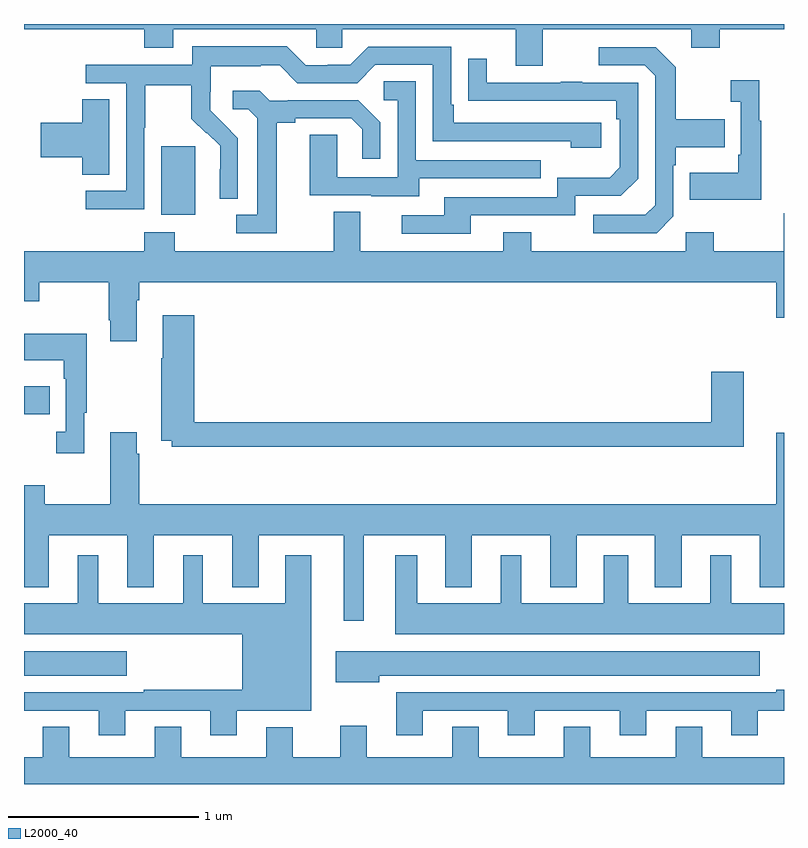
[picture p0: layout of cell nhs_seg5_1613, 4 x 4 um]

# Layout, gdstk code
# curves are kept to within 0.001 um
import gdstk
lib = gdstk.Library(unit=1e-6, precision=1e-09)
def R(c, l, rs):  # rectangles x0, y0, x1, y1
    for r in rs: c.add(gdstk.rectangle(r[:2], r[2:], *l))
def P(c, l, *ps):  # polygons
    for p in ps: c.add(gdstk.Polygon(p, *l))
L2000_40 = (2000, 40)

nhs_seg5_1613 = lib.new_cell('nhs_seg5_1613')
R(nhs_seg5_1613, L2000_40, [(209,841.37,209.542,841.498), (209,842.746,209.135,842.893), (209.723,843.794,209.902,844.155)])
P(nhs_seg5_1613, L2000_40, [(211.729,844.772),(212.513,844.772),(212.513,844.673),(212.661,844.673),(212.661,844.772),(213,844.772),(213,844.799),(209,844.799),(209,844.772),(209.633,844.772),(209.633,844.673),(209.785,844.673),(209.785,844.772),(210.537,844.772),(210.537,844.674),(210.675,844.674),(210.675,844.772),(211.589,844.772),(211.589,844.578),(211.729,844.578)],
  [(209.634,844.252),(209.637,844.252),(209.637,844.476),(209.881,844.476),(209.881,844.301),(209.958,844.224),(209.961,844.227),(210.032,844.157),(210.032,844.034),(210.03,844.034),(210.03,843.88),(210.126,843.88),(210.126,844.198),(209.98,844.346),(209.98,844.443),(209.982,844.443),(209.982,844.577),(210.245,844.577),(210.245,844.581),(210.345,844.581),(210.438,844.488),(210.753,844.488),(210.849,844.584),(211.152,844.584),(211.152,844.182),(211.877,844.182),(211.877,844.148),(212.038,844.148),(212.038,844.278),(211.261,844.278),(211.261,844.375),(211.248,844.375),(211.248,844.68),(210.813,844.68),(210.717,844.584),(210.599,844.584),(210.599,844.581),(210.483,844.581),(210.383,844.681),(209.886,844.681),(209.886,844.584),(209.325,844.584),(209.325,844.488),(209.538,844.488),(209.538,843.921),(209.325,843.921),(209.325,843.823),(209.634,843.823)],
  [(212.418,843.786),(212.418,844.055),(212.431,844.055),(212.431,844.151),(212.687,844.151),(212.687,844.299),(212.431,844.299),(212.431,844.571),(212.325,844.677),(212.025,844.677),(212.025,844.581),(212.268,844.581),(212.322,844.527),(212.322,843.846),(212.271,843.795),(211.995,843.795),(211.995,843.699),(212.331,843.699)],
  [(211.351,843.792),(211.902,843.792),(211.902,843.894),(212.142,843.894),(212.232,843.984),(212.232,844.491),(211.937,844.491),(211.937,844.496),(211.825,844.496),(211.825,844.491),(211.435,844.491),(211.435,844.615),(211.339,844.615),(211.339,844.396),(212.116,844.395),(212.116,844.298),(212.136,844.298),(212.136,844.044),(212.083,843.991),(211.806,843.991),(211.806,843.888),(211.211,843.888),(211.211,843.792),(210.987,843.792),(210.987,843.696),(211.351,843.696)],
  [(212.881,844.291),(212.869,844.291),(212.869,844.504),(212.721,844.504),(212.721,844.391),(212.772,844.391),(212.772,844.111),(212.76,844.111),(212.76,844.015),(212.503,844.015),(212.503,843.875),(212.881,843.875)],
  [(211.081,843.987),(211.721,843.987),(211.721,844.083),(211.062,844.083),(211.062,844.499),(210.894,844.499),(210.894,844.398),(210.966,844.398),(210.966,843.993),(210.648,843.993),(210.648,844.217),(210.503,844.217),(210.503,843.897),(210.827,843.897),(210.827,843.893),(211.081,843.893)],
  [(210.331,844.28),(210.427,844.28),(210.427,844.302),(210.722,844.302),(210.779,844.245),(210.779,844.089),(210.876,844.089),(210.876,844.282),(210.76,844.398),(210.388,844.398),(210.388,844.395),(210.294,844.395),(210.242,844.447),(210.099,844.447),(210.099,844.35),(210.18,844.35),(210.227,844.303),(210.227,843.795),(210.117,843.795),(210.117,843.699),(210.331,843.699)],
  [(209.449,844.403),(209.306,844.403),(209.306,844.28),(209.088,844.28),(209.088,844.097),(209.306,844.097),(209.306,844.006),(209.449,844.006)],
  [(209.593,843.344),(209.606,843.344),(209.606,843.44),(212.96,843.44),(212.96,843.252),(213,843.252),(213,843.803),(212.998,843.803),(212.998,843.604),(212.631,843.604),(212.631,843.703),(212.484,843.703),(212.484,843.604),(211.671,843.604),(211.671,843.703),(211.523,843.703),(211.523,843.604),(210.769,843.604),(210.769,843.812),(210.629,843.812),(210.629,843.604),(209.793,843.604),(209.793,843.703),(209.633,843.703),(209.633,843.604),(209,843.604),(209,843.341),(209.079,843.341),(209.079,843.44),(209.446,843.44),(209.446,843.241),(209.453,843.241),(209.453,843.129),(209.593,843.129)],
  [(212.788,842.968),(212.618,842.968),(212.618,842.702),(209.897,842.702),(209.897,843.265),(209.729,843.265),(209.729,843.041),(209.722,843.041),(209.722,842.606),(209.778,842.606),(209.778,842.574),(212.788,842.574)],
  [(209.317,842.753),(209.329,842.753),(209.329,843.169),(209,843.169),(209,843.029),(209.208,843.029),(209.208,842.933),(209.22,842.933),(209.22,842.654),(209.169,842.654),(209.169,842.541),(209.317,842.541)],
  [(210.787,842.108),(211.217,842.108),(211.217,841.835),(211.357,841.835),(211.357,842.108),(211.769,842.108),(211.769,841.835),(211.909,841.835),(211.909,842.108),(212.321,842.108),(212.321,841.835),(212.461,841.835),(212.461,842.108),(212.873,842.108),(212.873,841.835),(213,841.835),(213,842.647),(212.96,842.647),(212.96,842.272),(209.606,842.272),(209.606,842.537),(209.593,842.537),(209.593,842.65),(209.453,842.65),(209.453,842.272),(209.109,842.272),(209.109,842.371),(209,842.371),(209,841.835),(209.131,841.835),(209.131,842.108),(209.543,842.108),(209.543,841.835),(209.683,841.835),(209.683,842.108),(210.095,842.108),(210.095,841.835),(210.235,841.835),(210.235,842.108),(210.683,842.108),(210.683,841.659),(210.787,841.659)],
  [(213,841.75),(212.722,841.75),(212.722,842.002),(212.612,842.002),(212.612,841.75),(212.179,841.75),(212.179,842.002),(212.051,842.002),(212.051,841.75),(211.618,841.75),(211.618,842.002),(211.508,842.002),(211.508,841.75),(211.069,841.75),(211.069,842.002),(210.953,842.002),(210.953,841.586),(213,841.586)],
  [(209.533,841.185),(209.981,841.185),(209.981,841.056),(210.121,841.056),(210.121,841.184),(210.511,841.184),(210.511,842.002),(210.374,842.002),(210.374,841.75),(209.941,841.75),(209.941,842.002),(209.837,842.002),(209.837,841.75),(209.392,841.75),(209.392,842.002),(209.282,842.002),(209.282,841.75),(209,841.75),(209,841.586),(210.149,841.586),(210.149,841.294),(209.629,841.294),(209.629,841.281),(209,841.281),(209,841.185),(209.393,841.185),(209.393,841.056),(209.533,841.056)],
  [(210.871,841.37),(212.872,841.37),(212.872,841.498),(210.642,841.498),(210.642,841.334),(210.871,841.334)],
  [(211.099,841.185),(211.547,841.185),(211.547,841.056),(211.687,841.056),(211.687,841.185),(212.135,841.185),(212.135,841.056),(212.275,841.056),(212.275,841.185),(212.723,841.185),(212.723,841.056),(212.863,841.056),(212.863,841.185),(213,841.185),(213,841.294),(212.959,841.294),(212.959,841.281),(210.959,841.281),(210.959,841.056),(211.099,841.056)],
  [(213,840.94),(212.569,840.94),(212.569,841.1),(212.429,841.1),(212.429,840.94),(211.981,840.94),(211.981,841.1),(211.841,841.1),(211.841,840.94),(211.393,840.94),(211.393,841.1),(211.253,841.1),(211.253,840.94),(210.805,840.94),(210.805,841.105),(210.665,841.105),(210.665,840.94),(210.415,840.94),(210.415,841.099),(210.275,841.099),(210.275,840.94),(209.827,840.94),(209.827,841.1),(209.687,841.1),(209.687,840.94),(209.239,840.94),(209.239,841.1),(209.099,841.1),(209.099,840.94),(209,840.94),(209,840.799),(213,840.799)])

lib.write_gds('nhs_seg5_1613.gds')
